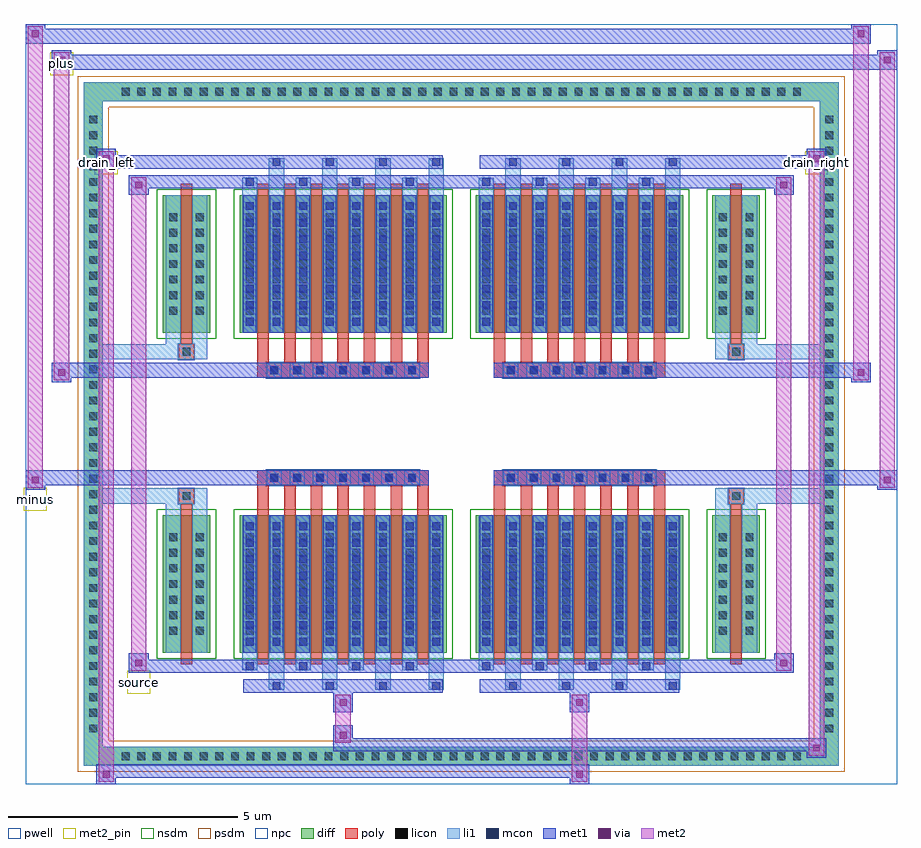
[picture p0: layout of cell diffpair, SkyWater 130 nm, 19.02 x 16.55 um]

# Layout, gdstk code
import gdstk
lib = gdstk.Library(unit=1e-6, precision=5e-09)
def R(c, l, rs):  # rectangles x0, y0, x1, y1
    for r in rs: c.add(gdstk.rectangle(r[:2], r[2:], *l))
def A(c, l, x, y, w, h, nx, ny, dx, dy):  # array of equal rectangles
    R(c, l, [(x+i*dx, y+j*dy, x+i*dx+w, y+j*dy+h) for i in range(nx) for j in range(ny)])
def P(c, l, *ps):  # polygons
    for p in ps: c.add(gdstk.Polygon(p, *l))
pwell = (64, 44)
diff = (65, 20)
poly = (66, 20)
licon = (66, 44)
li1 = (67, 20)
mcon = (67, 44)
met1 = (68, 20)
via = (68, 44)
met2_pin = (69, 16)
met2 = (69, 20)
nsdm = (93, 44)
psdm = (94, 20)
npc = (95, 20)

diffpair = lib.new_cell('diffpair')
R(diffpair, pwell, [(-9.49,-7.84,9.49,8.71), (-6.81,-6.03,-0.01,-0.805), (0.01,-6.03,6.81,-0.805), (-6.81,0.805,-0.01,6.03), (0.01,0.805,6.81,6.03)])
A(diffpair, diff, -7.515, -7.44, 0.41, 0.41, 44, 2, 0.34, 14.47)
A(diffpair, diff, -8.22, -6.835, 0.41, 0.41, 1, 40, 0, 0.34)
A(diffpair, diff, 7.81, -6.835, 0.41, 0.41, 1, 40, 0, 0.34)
R(diffpair, diff, [(-7.515,-7.44,7.515,-7.03), (-8.22,-6.835,-7.81,6.835), (7.81,-6.835,8.22,6.835), (-6.5,-4.985,-5.47,-1.985), (-4.83,-4.985,-0.32,-1.985), (0.32,-4.985,4.83,-1.985), (5.47,-4.985,6.5,-1.985), (-6.5,1.985,-5.47,4.985), (-4.83,1.985,-0.32,4.985), (0.32,1.985,4.83,4.985), (5.47,1.985,6.5,4.985), (-7.515,7.03,7.515,7.44)])
P(diffpair, diff, [(8.22,7.44),(-8.22,7.44),(-8.22,-7.03),(-7.81,-7.03),(-7.81,7.03),(7.81,7.03),(7.81,-7.03),(-7.81,-7.03),(-8.22,-7.03),(-8.22,-7.44),(8.22,-7.44)])
A(diffpair, poly, -4.44, -5.235, 0.25, 3.5, 7, 2, 0.58, 6.97)
A(diffpair, poly, 0.71, -5.235, 0.25, 3.5, 7, 2, 0.58, 6.97)
A(diffpair, poly, -4.44, -1.735, 0.25, 0.4, 7, 2, 0.58, 3.07)
A(diffpair, poly, 0.71, -1.735, 0.25, 0.4, 7, 2, 0.58, 3.07)
A(diffpair, poly, -4.24, -1.335, 0.33, 0.33, 7, 2, 0.5, 2.34)
A(diffpair, poly, 0.91, -1.335, 0.33, 0.33, 7, 2, 0.5, 2.34)
R(diffpair, poly, [(-6.11,-5.235,-5.86,-1.735), (5.86,-5.235,6.11,-1.735), (-6.15,-1.735,-5.82,-1.405), (-6.15,-1.735,-5.82,-1.405), (5.82,-1.735,6.15,-1.405), (5.82,-1.735,6.15,-1.405), (-4.44,-1.335,-0.71,-1.005), (0.71,-1.335,4.44,-1.005), (-4.44,1.005,-0.71,1.335), (0.71,1.005,4.44,1.335), (-6.15,1.405,-5.82,1.735), (-6.15,1.405,-5.82,1.735), (5.82,1.405,6.15,1.735), (5.82,1.405,6.15,1.735), (-6.11,1.735,-5.86,5.235), (5.86,1.735,6.11,5.235)])
A(diffpair, licon, -7.395, -7.32, 0.17, 0.17, 44, 2, 0.34, 14.47)
A(diffpair, licon, -8.1, -6.715, 0.17, 0.17, 1, 40, 0, 0.34)
A(diffpair, licon, 7.93, -6.715, 0.17, 0.17, 1, 40, 0, 0.34)
A(diffpair, licon, -6.36, -4.59, 0.17, 0.17, 1, 7, 0, 0.34)
A(diffpair, licon, -5.78, -4.59, 0.17, 0.17, 1, 7, 0, 0.34)
A(diffpair, licon, -4.69, -4.59, 0.17, 0.17, 8, 7, 0.58, 0.34)
A(diffpair, licon, 0.46, -4.59, 0.17, 0.17, 8, 7, 0.58, 0.34)
A(diffpair, licon, 5.61, -4.59, 0.17, 0.17, 1, 7, 0, 0.34)
A(diffpair, licon, 6.19, -4.59, 0.17, 0.17, 1, 7, 0, 0.34)
A(diffpair, licon, -4.16, -1.255, 0.17, 0.17, 7, 2, 0.5, 2.34)
A(diffpair, licon, 0.99, -1.255, 0.17, 0.17, 7, 2, 0.5, 2.34)
A(diffpair, licon, -6.36, 2.38, 0.17, 0.17, 1, 7, 0, 0.34)
A(diffpair, licon, -5.78, 2.38, 0.17, 0.17, 1, 7, 0, 0.34)
A(diffpair, licon, -4.69, 2.38, 0.17, 0.17, 8, 7, 0.58, 0.34)
A(diffpair, licon, 0.46, 2.38, 0.17, 0.17, 8, 7, 0.58, 0.34)
A(diffpair, licon, 5.61, 2.38, 0.17, 0.17, 1, 7, 0, 0.34)
A(diffpair, licon, 6.19, 2.38, 0.17, 0.17, 1, 7, 0, 0.34)
R(diffpair, licon, [(-6.07,-1.655,-5.9,-1.485), (5.9,-1.655,6.07,-1.485), (-6.07,1.485,-5.9,1.655), (5.9,1.485,6.07,1.655)])
A(diffpair, li1, -7.475, -7.4, 0.33, 0.33, 44, 2, 0.34, 14.47)
A(diffpair, li1, -8.18, -6.795, 0.33, 0.33, 1, 40, 0, 0.34)
A(diffpair, li1, 7.85, -6.795, 0.33, 0.33, 1, 40, 0, 0.34)
A(diffpair, li1, -4.19, -5.79, 0.33, 0.805, 4, 2, 1.16, 10.775)
A(diffpair, li1, -4.11, -5.79, 0.17, 0.17, 4, 2, 1.16, 11.41)
A(diffpair, li1, 0.96, -5.79, 0.33, 0.805, 4, 2, 1.16, 10.775)
A(diffpair, li1, 1.04, -5.79, 0.17, 0.17, 4, 2, 1.16, 11.41)
A(diffpair, li1, -4.77, -5.36, 0.33, 0.375, 4, 2, 1.16, 10.345)
A(diffpair, li1, -4.69, -5.36, 0.17, 0.17, 4, 2, 1.16, 10.55)
A(diffpair, li1, 0.38, -5.36, 0.33, 0.375, 4, 2, 1.16, 10.345)
A(diffpair, li1, 0.46, -5.36, 0.17, 0.17, 4, 2, 1.16, 10.55)
A(diffpair, li1, -4.77, -4.985, 0.33, 3, 8, 2, 0.58, 6.97)
A(diffpair, li1, 0.38, -4.985, 0.33, 3, 8, 2, 0.58, 6.97)
A(diffpair, li1, -4.69, -4.83, 0.17, 0.17, 8, 8, 0.58, 0.36)
A(diffpair, li1, -4.69, -4.83, 0.17, 2.69, 8, 2, 0.58, 6.97)
A(diffpair, li1, 0.46, -4.83, 0.17, 0.17, 8, 8, 0.58, 0.36)
A(diffpair, li1, 0.46, -4.83, 0.17, 2.69, 8, 2, 0.58, 6.97)
A(diffpair, li1, -6.44, -4.67, 0.33, 0.33, 1, 7, 0, 0.34)
A(diffpair, li1, -5.86, -4.67, 0.33, 0.33, 1, 7, 0, 0.34)
A(diffpair, li1, -4.77, -4.67, 0.33, 0.33, 8, 7, 0.58, 0.34)
A(diffpair, li1, 0.38, -4.67, 0.33, 0.33, 8, 7, 0.58, 0.34)
A(diffpair, li1, 5.53, -4.67, 0.33, 0.33, 1, 7, 0, 0.34)
A(diffpair, li1, 6.11, -4.67, 0.33, 0.33, 1, 7, 0, 0.34)
A(diffpair, li1, -4.24, -1.335, 0.33, 0.33, 7, 2, 0.5, 2.34)
A(diffpair, li1, 0.91, -1.335, 0.33, 0.33, 7, 2, 0.5, 2.34)
A(diffpair, li1, -4.69, 2.14, 0.17, 0.17, 8, 8, 0.58, 0.36)
A(diffpair, li1, 0.46, 2.14, 0.17, 0.17, 8, 8, 0.58, 0.36)
A(diffpair, li1, -6.44, 2.3, 0.33, 0.33, 1, 7, 0, 0.34)
A(diffpair, li1, -5.86, 2.3, 0.33, 0.33, 1, 7, 0, 0.34)
A(diffpair, li1, -4.77, 2.3, 0.33, 0.33, 8, 7, 0.58, 0.34)
A(diffpair, li1, 0.38, 2.3, 0.33, 0.33, 8, 7, 0.58, 0.34)
A(diffpair, li1, 5.53, 2.3, 0.33, 0.33, 1, 7, 0, 0.34)
A(diffpair, li1, 6.11, 2.3, 0.33, 0.33, 1, 7, 0, 0.34)
R(diffpair, li1, [(-8.22,-7.44,-7.81,-7.03), (-8.22,-7.44,-7.81,-7.03), (-7.81,-7.44,7.81,-7.03), (7.81,-7.44,8.22,-7.03), (7.81,-7.44,8.22,-7.03), (-8.22,-7.03,-7.81,7.03), (7.81,-7.03,8.22,7.03), (-6.44,-4.985,-6.11,-1.985), (-5.86,-4.985,-5.53,-1.985), (5.53,-4.985,5.86,-1.985), (6.11,-4.985,6.44,-1.985), (-6.44,-1.985,-6.11,-1.405), (-5.86,-1.985,-5.53,-1.405), (5.53,-1.985,5.86,-1.405), (6.11,-1.985,6.44,-1.405), (-8.22,-1.735,-6.15,-1.405), (-6.44,-1.735,-6.15,-1.405), (-6.15,-1.735,-5.82,-1.405), (-5.82,-1.735,-5.53,-1.405), (5.53,-1.735,5.82,-1.405), (5.82,-1.735,6.15,-1.405), (5.82,-1.735,8.22,-1.405), (6.15,-1.735,6.44,-1.405), (-8.22,1.405,-6.15,1.735), (-6.44,1.405,-6.15,1.735), (-6.44,1.405,-6.11,1.985), (-6.15,1.405,-5.82,1.735), (-5.86,1.405,-5.53,1.985), (-5.82,1.405,-5.53,1.735), (5.53,1.405,5.82,1.735), (5.53,1.405,5.86,1.985), (5.82,1.405,6.15,1.735), (5.82,1.405,8.22,1.735), (6.11,1.405,6.44,1.985), (6.15,1.405,6.44,1.735), (-6.44,1.985,-6.11,4.985), (-5.86,1.985,-5.53,4.985), (5.53,1.985,5.86,4.985), (6.11,1.985,6.44,4.985), (-8.22,7.03,-7.81,7.44), (-8.22,7.03,-7.81,7.44), (-7.81,7.03,7.81,7.44), (7.81,7.03,8.22,7.44), (7.81,7.03,8.22,7.44)])
A(diffpair, mcon, -4.11, -5.79, 0.17, 0.17, 4, 2, 1.16, 11.41)
A(diffpair, mcon, 1.04, -5.79, 0.17, 0.17, 4, 2, 1.16, 11.41)
A(diffpair, mcon, -4.69, -5.36, 0.17, 0.17, 4, 2, 1.16, 10.55)
A(diffpair, mcon, 0.46, -5.36, 0.17, 0.17, 4, 2, 1.16, 10.55)
A(diffpair, mcon, -4.69, -4.83, 0.17, 0.17, 8, 8, 0.58, 0.36)
A(diffpair, mcon, 0.46, -4.83, 0.17, 0.17, 8, 8, 0.58, 0.36)
A(diffpair, mcon, -4.16, -1.255, 0.17, 0.17, 7, 2, 0.5, 2.34)
A(diffpair, mcon, 0.99, -1.255, 0.17, 0.17, 7, 2, 0.5, 2.34)
A(diffpair, mcon, -4.69, 2.14, 0.17, 0.17, 8, 8, 0.58, 0.36)
A(diffpair, mcon, 0.46, 2.14, 0.17, 0.17, 8, 8, 0.58, 0.36)
A(diffpair, met1, -4.17, -5.85, 0.29, 0.29, 4, 2, 1.16, 11.41)
A(diffpair, met1, 0.98, -5.85, 0.29, 0.29, 4, 2, 1.16, 11.41)
A(diffpair, met1, -4.75, -5.42, 0.29, 0.29, 4, 2, 1.16, 10.55)
A(diffpair, met1, 0.4, -5.42, 0.29, 0.29, 4, 2, 1.16, 10.55)
A(diffpair, met1, -4.75, -4.985, 0.29, 3, 8, 2, 0.58, 6.97)
A(diffpair, met1, 0.4, -4.985, 0.29, 3, 8, 2, 0.58, 6.97)
A(diffpair, met1, -4.75, -4.89, 0.29, 0.29, 8, 8, 0.58, 0.36)
A(diffpair, met1, 0.4, -4.89, 0.29, 0.29, 8, 8, 0.58, 0.36)
A(diffpair, met1, -4.22, -1.315, 0.29, 0.29, 7, 2, 0.5, 2.34)
A(diffpair, met1, 0.93, -1.315, 0.29, 0.29, 7, 2, 0.5, 2.34)
A(diffpair, met1, -4.75, 2.08, 0.29, 0.29, 8, 8, 0.58, 0.36)
A(diffpair, met1, 0.4, 2.08, 0.29, 0.29, 8, 8, 0.58, 0.36)
R(diffpair, met1, [(-7.95,-7.84,-7.52,-7.41), (2.36,-7.84,2.79,-7.41), (-7.95,-7.7,2.79,-7.41), (7.52,-7.27,7.95,-6.84), (-2.79,-7.13,7.95,-6.84), (-2.79,-6.99,-2.36,-6.56), (-2.79,-6.28,-2.36,-5.85), (2.36,-6.28,2.79,-5.85), (-4.75,-5.85,-0.4,-5.56), (0.4,-5.85,4.75,-5.56), (-7.24,-5.42,-6.81,-4.99), (-7.24,-5.42,-4.75,-5.13), (-4.75,-5.42,-0.4,-5.13), (-0.4,-5.42,0.4,-5.13), (0.4,-5.42,4.75,-5.13), (4.75,-5.42,7.24,-5.13), (6.81,-5.42,7.24,-4.99), (-9.49,-1.435,-9.06,-1.005), (9.06,-1.435,9.49,-1.005), (-9.49,-1.335,-0.71,-1.005), (-4.44,-1.335,-0.71,-1.005), (0.71,-1.335,4.44,-1.005), (0.71,-1.335,9.49,-1.005), (-8.92,0.905,-8.49,1.335), (8.49,0.905,8.92,1.335), (-8.92,1.005,-4.44,1.335), (-4.44,1.005,-0.71,1.335), (0.71,1.005,4.44,1.335), (4.44,1.005,8.92,1.335), (-7.24,4.99,-6.81,5.42), (6.81,4.99,7.24,5.42), (-7.24,5.13,-4.75,5.42), (-4.75,5.13,-0.4,5.42), (-0.4,5.13,0.4,5.42), (0.4,5.13,4.75,5.42), (4.75,5.13,7.24,5.42), (-7.95,5.56,-7.52,5.99), (-7.95,5.56,-4.75,5.85), (-4.75,5.56,-0.4,5.85), (0.4,5.56,4.75,5.85), (4.75,5.56,7.95,5.85), (7.52,5.56,7.95,5.99), (-8.92,7.71,-8.49,8.14), (-8.92,7.71,-6.81,8.04), (-6.81,7.71,6.81,8.04), (6.81,7.71,9.49,8.04), (9.06,7.71,9.49,8.14), (-9.49,8.28,-9.06,8.71), (-9.49,8.28,-6.81,8.61), (-6.81,8.28,6.81,8.61), (6.81,8.28,8.92,8.61), (8.49,8.28,8.92,8.71)])
R(diffpair, via, [(-7.81,-7.7,-7.66,-7.55), (2.5,-7.7,2.65,-7.55), (7.66,-7.13,7.81,-6.98), (-2.65,-6.85,-2.5,-6.7), (-2.65,-6.14,-2.5,-5.99), (2.5,-6.14,2.65,-5.99), (-7.1,-5.28,-6.95,-5.13), (6.95,-5.28,7.1,-5.13), (-9.35,-1.295,-9.2,-1.145), (9.2,-1.295,9.35,-1.145), (-8.78,1.045,-8.63,1.195), (8.63,1.045,8.78,1.195), (-7.1,5.13,-6.95,5.28), (6.95,5.13,7.1,5.28), (-7.81,5.7,-7.66,5.85), (7.66,5.7,7.81,5.85), (-8.78,7.85,-8.63,8), (9.2,7.85,9.35,8), (-9.35,8.42,-9.2,8.57), (8.63,8.42,8.78,8.57)])
R(diffpair, met2_pin, [(-7.275,-5.87,-6.775,-5.37), (-9.525,-1.885,-9.025,-1.385), (-7.985,5.44,-7.485,5.94), (7.485,5.44,7.985,5.94), (-8.955,7.59,-8.455,8.09)])
R(diffpair, met2, [(-7.9,-7.79,-7.57,-7.46), (-7.9,-7.79,-7.57,5.94), (2.41,-7.79,2.74,-7.46), (2.41,-7.46,2.74,-6.23), (7.57,-7.22,7.9,-6.89), (7.57,-7.22,7.9,5.94), (-2.74,-6.94,-2.41,-6.61), (-2.74,-6.61,-2.41,-6.23), (-2.74,-6.23,-2.41,-5.9), (2.41,-6.23,2.74,-5.9), (-7.19,-5.37,-6.86,-5.04), (-7.19,-5.37,-6.86,5.37), (6.86,-5.37,7.19,-5.04), (6.86,-5.37,7.19,5.37), (-9.44,-1.385,-9.11,-1.055), (-9.44,-1.385,-9.11,8.66), (9.11,-1.385,9.44,-1.055), (9.11,-1.385,9.44,8.09), (-8.87,0.955,-8.54,1.285), (-8.87,0.955,-8.54,8.09), (8.54,0.955,8.87,1.285), (8.54,0.955,8.87,8.66), (-7.19,5.04,-6.86,5.37), (6.86,5.04,7.19,5.37), (-7.9,5.61,-7.57,5.94), (7.57,5.61,7.9,5.94), (-8.87,7.76,-8.54,8.09), (9.11,7.76,9.44,8.09), (-9.44,8.33,-9.11,8.66), (8.54,8.33,8.87,8.66)])
P(diffpair, met2, [(9.44,-1.385),(9.44,-1.385),(9.44,-1.055),(9.44,-1.055)],
  [(9.44,7.76),(9.44,7.76),(9.44,8.09),(9.44,8.09)],
  [(-9.11,-1.385),(-9.11,-1.385),(-9.11,-1.055),(-9.11,-1.055)],
  [(-9.11,8.33),(-9.11,8.33),(-9.11,8.66),(-9.11,8.66)],
  [(8.87,0.955),(8.87,0.955),(8.87,1.285),(8.87,1.285)],
  [(8.87,8.33),(8.87,8.33),(8.87,8.66),(8.87,8.66)],
  [(-8.54,0.955),(-8.54,0.955),(-8.54,1.285),(-8.54,1.285)],
  [(-8.54,7.76),(-8.54,7.76),(-8.54,8.09),(-8.54,8.09)],
  [(-7.57,-7.79),(-7.57,-7.79),(-7.57,-7.46),(-7.57,-7.46)],
  [(-7.57,5.61),(-7.57,5.61),(-7.57,5.94),(-7.57,5.94)],
  [(7.9,-7.22),(7.9,-7.22),(7.9,-6.89),(7.9,-6.89)],
  [(7.9,5.61),(7.9,5.61),(7.9,5.94),(7.9,5.94)],
  [(-6.86,-5.37),(-6.86,-5.37),(-6.86,-5.04),(-6.86,-5.04)],
  [(-6.86,5.04),(-6.86,5.04),(-6.86,5.37),(-6.86,5.37)],
  [(7.19,-5.37),(7.19,-5.37),(7.19,-5.04),(7.19,-5.04)],
  [(7.19,5.04),(7.19,5.04),(7.19,5.37),(7.19,5.37)])
R(diffpair, nsdm, [(-6.63,-5.115,-5.34,-1.855), (-4.96,-5.115,-0.19,-1.855), (0.19,-5.115,4.96,-1.855), (5.34,-5.115,6.63,-1.855), (-6.63,1.855,-5.34,5.115), (-4.96,1.855,-0.19,5.115), (0.19,1.855,4.96,5.115), (5.34,1.855,6.63,5.115)])
P(diffpair, psdm, [(8.35,7.57),(-8.35,7.57),(-8.35,-6.9),(-7.68,-6.9),(-7.68,6.9),(7.68,6.9),(7.68,-6.9),(-7.68,-6.9),(-8.35,-6.9),(-8.35,-7.57),(8.35,-7.57)])
A(diffpair, npc, -4.26, -1.355, 0.37, 0.37, 7, 2, 0.5, 2.34)
A(diffpair, npc, 0.89, -1.355, 0.37, 0.37, 7, 2, 0.5, 2.34)
R(diffpair, npc, [(-6.17,-1.755,-5.8,-1.385), (5.8,-1.755,6.17,-1.385), (-4.26,-1.355,-3.39,-0.985), (-4.26,-1.355,-3.39,-0.985), (-3.76,-1.355,-2.89,-0.985), (-3.76,-1.355,-2.89,-0.985), (-3.26,-1.355,-2.39,-0.985), (-3.26,-1.355,-2.39,-0.985), (-2.76,-1.355,-1.89,-0.985), (-2.76,-1.355,-1.89,-0.985), (-2.26,-1.355,-1.39,-0.985), (-2.26,-1.355,-1.39,-0.985), (-1.76,-1.355,-0.89,-0.985), (-1.76,-1.355,-0.89,-0.985), (0.89,-1.355,1.76,-0.985), (0.89,-1.355,1.76,-0.985), (1.39,-1.355,2.26,-0.985), (1.39,-1.355,2.26,-0.985), (1.89,-1.355,2.76,-0.985), (1.89,-1.355,2.76,-0.985), (2.39,-1.355,3.26,-0.985), (2.39,-1.355,3.26,-0.985), (2.89,-1.355,3.76,-0.985), (2.89,-1.355,3.76,-0.985), (3.39,-1.355,4.26,-0.985), (3.39,-1.355,4.26,-0.985), (-4.26,0.985,-3.39,1.355), (-4.26,0.985,-3.39,1.355), (-3.76,0.985,-2.89,1.355), (-3.76,0.985,-2.89,1.355), (-3.26,0.985,-2.39,1.355), (-3.26,0.985,-2.39,1.355), (-2.76,0.985,-1.89,1.355), (-2.76,0.985,-1.89,1.355), (-2.26,0.985,-1.39,1.355), (-2.26,0.985,-1.39,1.355), (-1.76,0.985,-0.89,1.355), (-1.76,0.985,-0.89,1.355), (0.89,0.985,1.76,1.355), (0.89,0.985,1.76,1.355), (1.39,0.985,2.26,1.355), (1.39,0.985,2.26,1.355), (1.89,0.985,2.76,1.355), (1.89,0.985,2.76,1.355), (2.39,0.985,3.26,1.355), (2.39,0.985,3.26,1.355), (2.89,0.985,3.76,1.355), (2.89,0.985,3.76,1.355), (3.39,0.985,4.26,1.355), (3.39,0.985,4.26,1.355), (-6.17,1.385,-5.8,1.755), (5.8,1.385,6.17,1.755)])
diffpair.add(gdstk.Label('minus', (-9.275,-1.635), layer=69, texttype=5))
diffpair.add(gdstk.Label('drain_right', (7.735,5.69), layer=69, texttype=5))
diffpair.add(gdstk.Label('drain_left', (-7.735,5.69), layer=69, texttype=5))
diffpair.add(gdstk.Label('source', (-7.025,-5.62), layer=69, texttype=5))
diffpair.add(gdstk.Label('plus', (-8.705,7.84), layer=69, texttype=5))

lib.write_gds('diffpair.gds')
